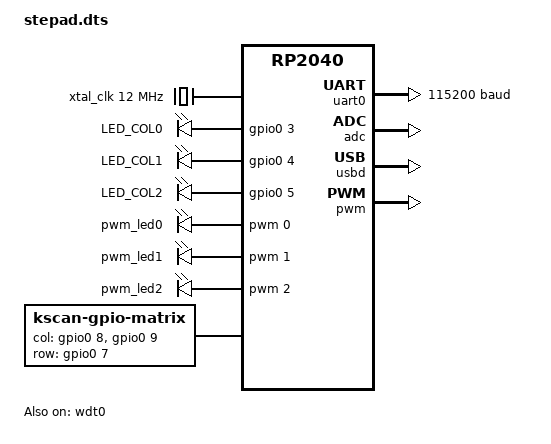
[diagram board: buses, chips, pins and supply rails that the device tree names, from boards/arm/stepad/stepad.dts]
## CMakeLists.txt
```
#-------------------------------------------------------------------------------
# Zephyr Example Application
#
# Copyright (c) 2021 Nordic Semiconductor ASA
# SPDX-License-Identifier: Apache-2.0

cmake_minimum_required(VERSION 3.13.1)

list(APPEND BOARD_ROOT ${CMAKE_CURRENT_SOURCE_DIR})
set(BOARD stepad)

find_package(Zephyr REQUIRED HINTS $ENV{ZEPHYR_BASE})

project(stepad_firmware)

target_sources(app PRIVATE src/main.c)
```

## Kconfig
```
# This file is the application Kconfig entry point. All application Kconfig
# options can be defined here or included via other application Kconfig files.
# You can browse these options using the west targets menuconfig (terminal) or
# guiconfig (GUI).

menu "Zephyr"
source "Kconfig.zephyr"
endmenu

module = APP
module-str = APP
source "subsys/logging/Kconfig.template.log_config"
```

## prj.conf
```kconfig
CONFIG_GPIO=y
CONFIG_PWM=y

CONFIG_LOG=y
```

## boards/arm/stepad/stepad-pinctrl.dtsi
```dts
/*
 * Copyright (c) 2021, Yonatan Schachter
 * SPDX-License-Identifier: Apache-2.0
 */

#include <zephyr/dt-bindings/pinctrl/rpi-pico-rp2040-pinctrl.h>

&pinctrl {
	uart0_default: uart0_default {
		group1 {
			pinmux = <UART0_TX_P12>;
		};
		group2 {
			pinmux = <UART0_RX_P13>;
			input-enable;
		};
	};

	pwm_ch0a0b1b_default: pwm_ch0a0b1b_default {
		group1 {
			pinmux = <PWM_0A_P0>,<PWM_0B_P1>,<PWM_1A_P2>;
		};
	};


	adc_default: adc_default {
		group1 {
			pinmux = <ADC_CH0_P26>, <ADC_CH1_P27>, <ADC_CH2_P28>, <ADC_CH3_P29>;
			input-enable;
		};
	};
};
```

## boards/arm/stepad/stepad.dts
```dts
/dts-v1/;

#include <freq.h>

#include <rpi_pico/rp2040.dtsi>
#include "stepad-pinctrl.dtsi"
#include <zephyr/dt-bindings/pwm/pwm.h>

#include <zephyr/dt-bindings/i2c/i2c.h>


/ {
	chosen {
		zephyr,sram = &sram0;
		zephyr,flash = &flash0;
		zephyr,flash-controller = &ssi;
		zephyr,console = &uart0;
		zephyr,shell-uart = &uart0;
		zephyr,code-partition = &code_partition;
	};

	xtal_clk: xtal-clk {
		compatible = "fixed-clock";
		clock-frequency = <12000000>;
		#clock-cells = <0>;
	};

	aliases {
		watchdog0 = &wdt0;
	};

    /* LED STUFF */
	aliases {
		led-col0 = &led0;
        led-col1 = &led1;
        led-col2 = &led2;
		pwm-led-red = &pwm_led0;
		pwm-led-green = &pwm_led1;
		pwm-led-blue = &pwm_led2;
	};

    leds {
		compatible = "gpio-leds";
		led0: led_0 {
			gpios = <&gpio0 3 GPIO_ACTIVE_HIGH>;
			label = "LED_COL0";
		};
        led1: led_1 {
			gpios = <&gpio0 4 GPIO_ACTIVE_HIGH>;
			label = "LED_COL1";
		};
        led2: led_2 {
			gpios = <&gpio0 5 GPIO_ACTIVE_HIGH>;
			label = "LED_COL2";
		};
	};

	pwm_leds {
		compatible = "pwm-leds";
		status = "okay";
		pwm_led0: pwm_led_red {
			pwms = <&pwm 0 PWM_MSEC(20) PWM_POLARITY_INVERTED>;
		};

		pwm_led1: pwm_led_green {
			pwms = <&pwm 1 PWM_MSEC(20) PWM_POLARITY_INVERTED>;
		};

		pwm_led2: pwm_led_blue {
			pwms = <&pwm 2 PWM_MSEC(20) PWM_POLARITY_INVERTED>;
		};
		
	};

    /* KSCAN */
    kscan0: kscan_0 {
        compatible = "kscan-gpio-matrix";
        label="KSCAN";
        diode-direction = "col2row";
        col-gpio=
            <&gpio0 8 GPIO_ACTIVE_HIGH>,
            <&gpio0 9 GPIO_ACTIVE_HIGH>;

        row-gpio=
            <&gpio0 7 (GPIO_ACTIVE_HIGH | GPIO_PULL_DOWN)>;
    };
};

&flash0 {
	reg = <0x10000000 DT_SIZE_M(2)>;

	partitions {
		compatible = "fixed-partitions";
		#address-cells = <1>;
		#size-cells = <1>;

		/* Reserved memory for the second stage bootloader */
		second_stage_bootloader: partition@0 {
			label = "second_stage_bootloader";
			reg = <0x00000000 0x100>;
			read-only;
		};

		/*
		 * Usable flash. Starts at 0x100, after the bootloader. The partition
		 * size is 2MB minus the 0x100 bytes taken by the bootloader.
		 */
		code_partition: partition@100 {
			label = "code-partition";
			reg = <0x100 (DT_SIZE_M(2) - 0x100)>;
			read-only;
		};
	};
};

&uart0 {
	current-speed = <115200>;
	status = "okay";
	pinctrl-0 = <&uart0_default>;
	pinctrl-names = "default";
};

&gpio0 {
	status = "okay";
};

&wdt0 {
	status = "okay";
};

&adc {
	status = "okay";
	pinctrl-0 = <&adc_default>;
	pinctrl-names = "default";
};

zephyr_udc0: &usbd {
	status = "okay";
};

&pwm {
	status = "okay";
	pinctrl-0 = <&pwm_ch0a0b1b_default>;
	pinctrl-names = "default";
};

&vreg {
	regulator-always-on;
	regulator-allowed-modes = <REGULATOR_RPI_PICO_MODE_NORMAL>;
};
```

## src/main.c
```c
#include <zephyr/kernel.h>
#include <zephyr/device.h>
#include <zephyr/devicetree.h>
#include <zephyr/drivers/sensor.h>
#include <app_version.h>

#include <zephyr/logging/log.h>
LOG_MODULE_REGISTER(main, CONFIG_APP_LOG_LEVEL);

#include <zephyr/drivers/pwm.h>
#include <zephyr/drivers/gpio.h>

/* 1000 msec = 1 sec */
#define SLEEP_TIME_MS   1000

#define PWM_PERIOD       PWM_MSEC(1U)
#define PWM_FADE_SPEED   1

static const struct gpio_dt_spec led_col0 = GPIO_DT_SPEC_GET(DT_ALIAS(led_col0), gpios);
// static const struct pwm_dt_spec pwm_led0 = PWM_DT_SPEC_GET_BY_NAME(DT_NODELABEL(pwm_led), red);
static const struct pwm_dt_spec pwm_led0 = PWM_DT_SPEC_GET(DT_ALIAS(pwm_led_red));

int main(void)
{
    /// Initializing stuff
    // Initializing the column pin (Standard GPIO)
    int ret;
    if (!gpio_is_ready_dt(&led_col0)) {
		return 0;
	}

	ret = gpio_pin_configure_dt(&led_col0, GPIO_OUTPUT_ACTIVE);
	if (ret < 0) {
		return 0;
	}

    /// Initializing the row pin (PWM)
    if (!device_is_ready(pwm_led0.dev)) {
        return 0;
    }

    // Start PWM at max duty cycle and period
    ret = pwm_set_dt(&pwm_led0, PWM_PERIOD, PWM_PERIOD);
    if (ret < 0) {
        return 0;
    }

    // Forever loop.
    uint32_t pwm_pulse_period = PWM_PERIOD;
    int multiplier = 1;
    while(1)
    {
        ret = pwm_set_pulse_dt(&pwm_led0, pwm_pulse_period);
        pwm_pulse_period -= multiplier * PWM_FADE_SPEED;
        if(pwm_pulse_period == 0 || pwm_pulse_period >= PWM_PERIOD)
        {
            multiplier *= -1;
        }

        k_msleep(SLEEP_TIME_MS);
    }
}
```
